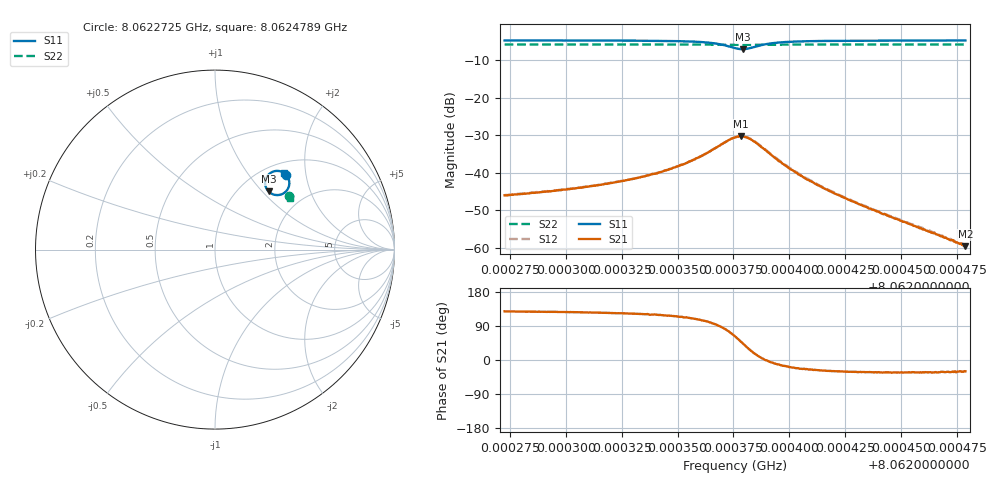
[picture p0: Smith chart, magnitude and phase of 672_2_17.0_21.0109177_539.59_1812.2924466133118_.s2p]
#  HZ  S  RI  R  50.00
! Rohde & Schwarz Vector Network Analyzer
! Rohde-Schwarz,ZNB20-2Port,1311601062101988,3.16
! Created: UTC 3/20/2024, 11:22:12 PM
! freq[Hz]  re:S11  im:S11  re:S21  im:S21  re:S12  im:S12  re:S22  im:S22
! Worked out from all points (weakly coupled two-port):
!   401 points, 8.0622725 GHz to 8.0624789 GHz, reference 50 ohm
!   highest |S21| = -30.34 dB at 8.0623783 GHz (marker M1); lowest = -59.6 dB at 8.0624789 GHz (marker M2)
!   lowest |S11| = -7.1 dB at 8.0623793 GHz (marker M3), VSWR 2.57, Z = 67.5 + j54.3 ohm
!   |S11| at or under -10 dB: nowhere
!   |S22| runs from -6.0 to -5.9 dB; largest |S21 - S12| = 0.0014
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8.06227254e9  0.3959 0.4181  -0.00309 0.00389  -0.00284 0.00416  0.4137 0.2963
8.06229317e9  0.399 0.4145  -0.00339 0.00449  -0.00314 0.00472  0.4144 0.2952
8.0623071e9  0.4015 0.4111  -0.00369 0.00509  -0.00341 0.00539  0.415 0.2941
8.06232515e9  0.4055 0.4047  -0.00423 0.00644  -0.00385 0.00671  0.4156 0.293
8.06234166e9  0.4105 0.3937  -0.00474 0.00876  -0.00423 0.00912  0.4162 0.2916
8.06235507e9  0.4142 0.3745  -0.00506 0.013  -0.00426 0.0132  0.4165 0.2901
8.06236539e9  0.4078 0.3421  -0.0025 0.0198  -0.00156 0.0199  0.4163 0.2882
8.06237106e9  0.3842 0.315  0.0033 0.025  0.00461 0.0247  0.415 0.2872
8.0623757e9  0.339 0.3041  0.0135 0.0261  0.0147 0.0255  0.413 0.2869
8.06237828e9  0.3089 0.3154  0.0201 0.0228  0.021 0.0222  0.4119 0.2877
8.06237931e9  0.2984 0.3241  0.022 0.0205  0.023 0.0199  0.4115 0.2881
8.06238138e9  0.284 0.3463  0.0247 0.0153  0.0255 0.0144  0.4112 0.2894
8.06238395e9  0.2793 0.3759  0.0248 0.00857  0.0256 0.00773  0.4115 0.2907
8.06239066e9  0.3034 0.4228  0.0184 -0.00106  0.0187 -0.00209  0.4133 0.292
8.06239479e9  0.3202 0.4333  0.0144 -0.00292  0.0146 -0.00366  0.4144 0.292
8.06240046e9  0.3376 0.438  0.0105 -0.0036  0.0105 -0.00432  0.4155 0.2917
8.06241026e9  0.3556 0.4381  0.00678 -0.00323  0.00672 -0.00372  0.4165 0.2912
8.06242161e9  0.3671 0.4356  0.00438 -0.00254  0.00431 -0.00282  0.4175 0.2902
8.06244482e9  0.3787 0.4308  0.00218 -0.0014  0.00213 -0.00157  0.4187 0.2886
8.06245875e9  0.3827 0.4286  0.00153 -0.000969  0.00151 -0.00109  0.4192 0.2878
8.06247525e9  0.3862 0.4262  0.001 -0.000597  0.000963 -0.00069  0.4198 0.2869
8.06247886e9  0.3869 0.4258  0.000905 -0.00052  0.000913 -0.000594  0.4201 0.2867
